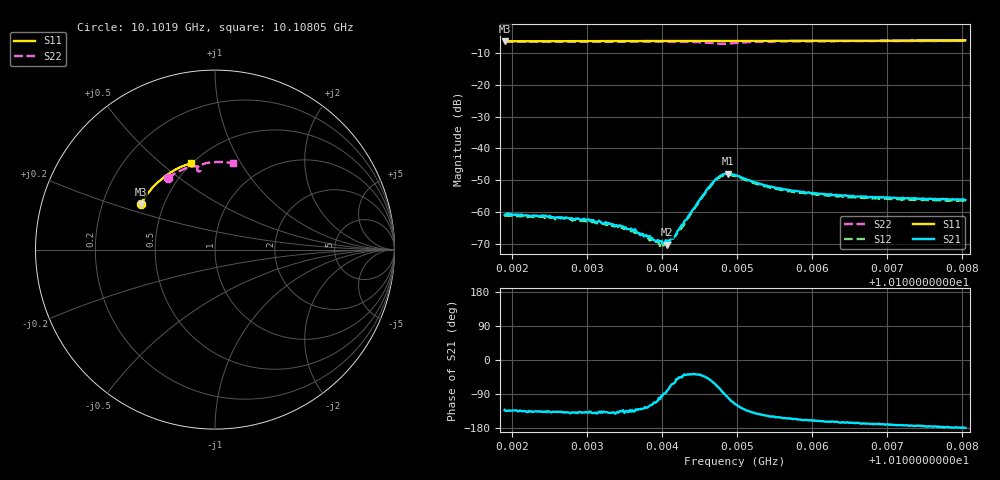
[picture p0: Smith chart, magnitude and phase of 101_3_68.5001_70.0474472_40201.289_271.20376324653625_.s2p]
#  HZ  S  RI  R  50.00
! Rohde & Schwarz Vector Network Analyzer
! Rohde-Schwarz,ZNB20-2Port,1311601062101988,3.16
! Created: UTC 3/20/2024, 5:08:13 PM
! freq[Hz]  re:S11  im:S11  re:S21  im:S21  re:S12  im:S12  re:S22  im:S22
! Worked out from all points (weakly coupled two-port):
!   401 points, 10.1019 GHz to 10.10805 GHz, reference 50 ohm
!   highest |S21| = -47.94 dB at 10.10488 GHz (marker M1); lowest = -70.3 dB at 10.10407 GHz (marker M2)
!   lowest |S11| = -6.3 dB at 10.1019 GHz (marker M3), VSWR 2.88, Z = 18.6 + j12.3 ohm
!   |S11| at or under -10 dB: nowhere
!   |S22| runs from -7.1 to -6.2 dB; largest |S21 - S12| = 0.00041
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1.0101905e10  -0.4134 0.2527  -0.000593 -0.000661  -0.000555 -0.000673  -0.2608 0.3993
1.0102427e10  -0.3973 0.2802  -0.00063 -0.000609  -0.00055 -0.00061  -0.2326 0.4181
1.0102657e10  -0.3895 0.2919  -0.000597 -0.000571  -0.000549 -0.00057  -0.2193 0.4259
1.0102933e10  -0.3801 0.3056  -0.000568 -0.00049  -0.000514 -0.00053  -0.2034 0.4345
1.0103501e10  -0.3589 0.3328  -0.000429 -0.000366  -0.000371 -0.000394  -0.1685 0.4505
1.0103624e10  -0.354 0.3385  -0.000365 -0.000346  -0.000304 -0.000378  -0.1605 0.4534
1.0103716e10  -0.3503 0.3427  -0.00027 -0.000333  -0.00027 -0.000349  -0.1544 0.4556
1.0103962e10  -0.3401 0.3537  -5.78e-05 -0.00034  -4.56e-05 -0.000313  -0.1372 0.4607
1.0103993e10  -0.339 0.3551  -3.24e-05 -0.000345  -3.1e-05 -0.000332  -0.1348 0.4613
1.0104069e10  -0.3357 0.3583  4.73e-05 -0.000301  8.64e-05 -0.000328  -0.1291 0.4625
1.0104115e10  -0.3337 0.3604  0.000137 -0.00035  0.00015 -0.000293  -0.1256 0.4632
1.0104161e10  -0.3318 0.3623  0.000197 -0.000355  0.000232 -0.000344  -0.1218 0.4637
1.0104238e10  -0.3283 0.3657  0.000383 -0.000403  0.000389 -0.000355  -0.1155 0.4644
1.0104561e10  -0.3141 0.3791  0.00138 -0.00129  0.00146 -0.00116  -0.0861 0.4573
1.0104683e10  -0.3085 0.3839  0.00151 -0.00251  0.00168 -0.00226  -0.0796 0.4453
1.0104776e10  -0.3042 0.3874  0.000836 -0.00358  0.0011 -0.00334  -0.084 0.436
1.0104883e10  -0.2994 0.3915  -0.000664 -0.00395  -0.000327 -0.00381  -0.0951 0.4369
1.0104975e10  -0.2953 0.3952  -0.00169 -0.00341  -0.0013 -0.00343  -0.099 0.4459
1.0105451e10  -0.2724 0.413  -0.00213 -0.0013  -0.00191 -0.00142  -0.0702 0.4756
1.0106004e10  -0.2446 0.4315  -0.00184 -0.000696  -0.0017 -0.000837  -0.0307 0.485
1.0107033e10  -0.1898 0.4607  -0.00167 -0.000258  -0.00156 -0.000404  0.0378 0.4882
1.0108046e10  -0.1324 0.4824  -0.00153 -2.13e-05  -0.00149 -0.000187  0.103 0.4812
